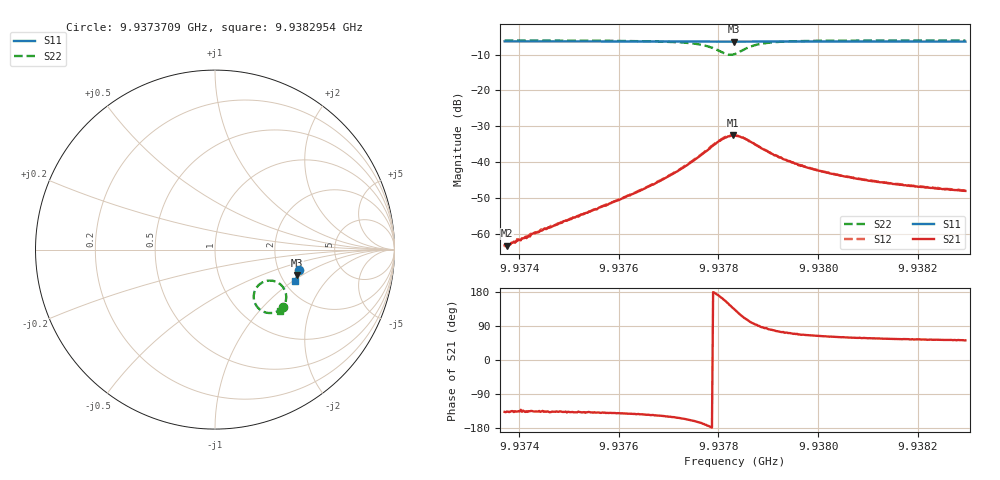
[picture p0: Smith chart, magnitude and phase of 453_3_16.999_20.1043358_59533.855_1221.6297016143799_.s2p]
#  HZ  S  RI  R  50.00
! Rohde & Schwarz Vector Network Analyzer
! Rohde-Schwarz,ZNB20-2Port,1311601062101988,3.16
! Created: UTC 3/20/2024, 11:12:21 PM
! freq[Hz]  re:S11  im:S11  re:S21  im:S21  re:S12  im:S12  re:S22  im:S22
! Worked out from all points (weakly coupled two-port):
!   401 points, 9.9373709 GHz to 9.9382954 GHz, reference 50 ohm
!   highest |S21| = -32.58 dB at 9.9378285 GHz (marker M1); lowest = -63.3 dB at 9.9373756 GHz (marker M2)
!   lowest |S11| = -6.4 dB at 9.9378309 GHz (marker M3), VSWR 2.84, Z = 122 - j45 ohm
!   |S11| at or under -10 dB: nowhere
!   |S22| runs from -10.1 to -6.1 dB; largest |S21 - S12| = 0.00092
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9.93737094e9  0.4699 -0.1133  -0.0005 -0.000468  -0.000478 -0.000466  0.3797 -0.3215
9.93737556e9  0.4697 -0.1134  -0.00049 -0.000474  -0.000508 -0.000472  0.3793 -0.322
9.93742409e9  0.4688 -0.1168  -0.000681 -0.000698  -0.000729 -0.000681  0.3752 -0.3253
9.93752579e9  0.4665 -0.1236  -0.00139 -0.00123  -0.00139 -0.00122  0.3644 -0.3341
9.93760437e9  0.4647 -0.1288  -0.00236 -0.00191  -0.00243 -0.00191  0.3516 -0.3418
9.93768063e9  0.4627 -0.1339  -0.00447 -0.00291  -0.00459 -0.00293  0.3299 -0.3505
9.93773148e9  0.4612 -0.1374  -0.00775 -0.00357  -0.00799 -0.00349  0.3004 -0.3533
9.93777308e9  0.4593 -0.1402  -0.0136 -0.00224  -0.0139 -0.00211  0.254 -0.337
9.93779157e9  0.4585 -0.141  -0.0175 0.000717  -0.0179 0.00124  0.2277 -0.3079
9.93781006e9  0.4575 -0.1415  -0.0199 0.00733  -0.0203 0.00785  0.2163 -0.2532
9.9378193e9  0.4572 -0.1415  -0.0197 0.0116  -0.0195 0.0123  0.2267 -0.2199
9.93782855e9  0.4572 -0.1417  -0.0173 0.0158  -0.017 0.0166  0.2504 -0.1916
9.93783086e9  0.4571 -0.1417  -0.0166 0.0165  -0.0162 0.0173  0.2578 -0.1867
9.93783317e9  0.4573 -0.1416  -0.0157 0.0172  -0.0152 0.018  0.2658 -0.182
9.93784473e9  0.4576 -0.142  -0.0106 0.0196  -0.0102 0.0202  0.3075 -0.1725
9.93786091e9  0.4578 -0.143  -0.00444 0.019  -0.00392 0.0196  0.3538 -0.1861
9.93788633e9  0.458 -0.1449  0.000928 0.0155  0.00115 0.0157  0.3876 -0.2235
9.9379418e9  0.4569 -0.1492  0.00332 0.00977  0.00355 0.00964  0.3963 -0.2757
9.93798802e9  0.4558 -0.1524  0.00339 0.00724  0.00363 0.00722  0.3911 -0.2964
9.93805504e9  0.4542 -0.157  0.00317 0.00539  0.00327 0.00537  0.383 -0.3136
9.93814287e9  0.4518 -0.1625  0.00281 0.00416  0.00291 0.00414  0.3742 -0.3267
9.93829541e9  0.4475 -0.1724  0.00243 0.0031  0.00247 0.00311  0.3618 -0.3411
